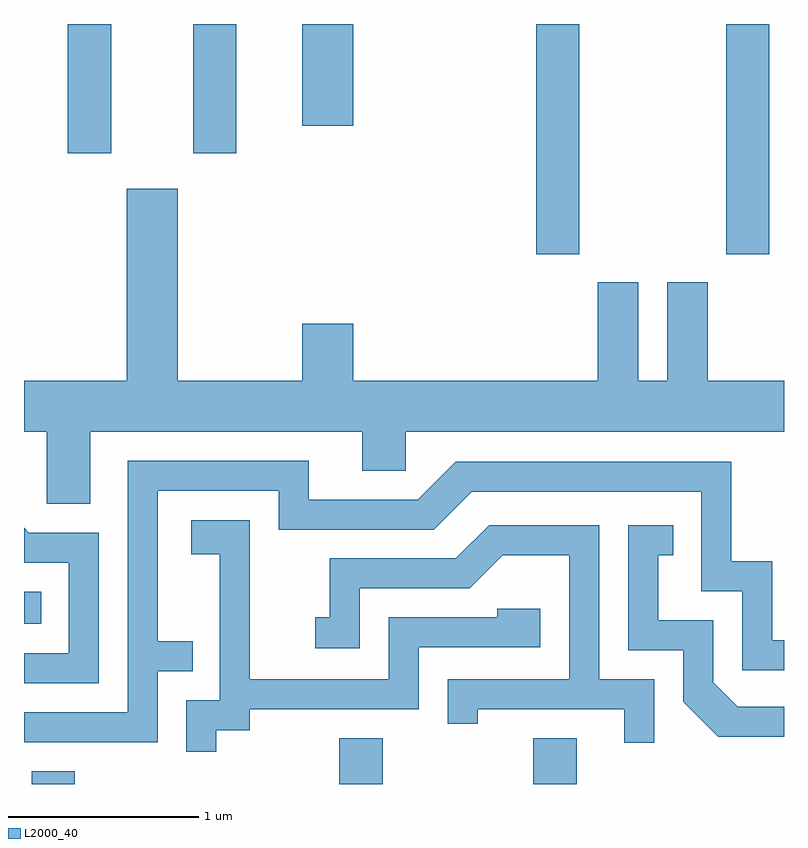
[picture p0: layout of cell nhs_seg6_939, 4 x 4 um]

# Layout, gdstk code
import gdstk
lib = gdstk.Library(unit=1e-6, precision=1e-09)
def R(c, l, rs):  # rectangles x0, y0, x1, y1
    for r in rs: c.add(gdstk.rectangle(r[:2], r[2:], *l))
def P(c, l, *ps):  # polygons
    for p in ps: c.add(gdstk.Polygon(p, *l))
L2000_40 = (2000, 40)

nhs_seg6_939 = lib.new_cell('nhs_seg6_939')
R(nhs_seg6_939, L2000_40, [(213.651,1568.162,213.879,1568.229), (215.271,1568.162,215.499,1568.404), (216.291,1568.162,216.519,1568.404), (213.611,1569.006,213.703,1569.174), (216.306,1570.951,216.534,1572.162), (217.306,1570.951,217.534,1572.162), (213.841,1571.481,214.069,1572.162), (214.501,1571.481,214.729,1572.162), (215.076,1571.626,215.344,1572.162)])
P(nhs_seg6_939, L2000_40, [(213.959,1570.016),(215.391,1570.016),(215.391,1569.811),(215.619,1569.811),(215.619,1570.016),(217.611,1570.016),(217.611,1570.284),(217.209,1570.284),(217.209,1570.804),(216.996,1570.804),(216.996,1570.284),(216.844,1570.284),(216.844,1570.804),(216.631,1570.804),(216.631,1570.284),(215.344,1570.284),(215.344,1570.584),(215.076,1570.584),(215.076,1570.284),(214.419,1570.284),(214.419,1571.294),(214.151,1571.294),(214.151,1570.284),(213.611,1570.284),(213.611,1570.016),(213.731,1570.016),(213.731,1569.636),(213.959,1569.636)],
  [(214.314,1568.756),(214.498,1568.756),(214.498,1568.914),(214.314,1568.914),(214.314,1569.706),(214.951,1569.706),(214.951,1569.501),(215.767,1569.501),(215.967,1569.701),(217.176,1569.701),(217.176,1569.176),(217.391,1569.176),(217.391,1568.761),(217.611,1568.761),(217.611,1568.919),(217.549,1568.919),(217.549,1569.334),(217.334,1569.334),(217.334,1569.859),(215.884,1569.859),(215.684,1569.659),(215.109,1569.659),(215.109,1569.864),(214.156,1569.864),(214.156,1568.539),(213.611,1568.539),(213.611,1568.381),(214.314,1568.381)],
  [(214.624,1568.446),(214.799,1568.446),(214.799,1568.556),(215.689,1568.556),(215.689,1568.881),(216.329,1568.881),(216.329,1569.084),(216.101,1569.084),(216.101,1569.039),(215.531,1569.039),(215.531,1568.714),(214.799,1568.714),(214.799,1569.549),(214.491,1569.549),(214.491,1569.371),(214.641,1569.371),(214.641,1568.604),(214.466,1568.604),(214.466,1568.333),(214.624,1568.333)],
  [(217.611,1568.569),(217.367,1568.569),(217.239,1568.697),(217.239,1569.024),(216.949,1569.024),(216.949,1569.366),(217.028,1569.366),(217.028,1569.524),(216.791,1569.524),(216.791,1568.866),(217.081,1568.866),(217.081,1568.594),(217.264,1568.411),(217.611,1568.411)],
  [(216.929,1568.714),(216.639,1568.714),(216.639,1569.524),(216.059,1569.524),(215.884,1569.349),(215.221,1569.349),(215.221,1569.039),(215.143,1569.039),(215.143,1568.876),(215.379,1568.876),(215.379,1569.191),(215.957,1569.191),(216.132,1569.366),(216.481,1569.366),(216.481,1568.714),(215.841,1568.714),(215.841,1568.478),(215.999,1568.478),(215.999,1568.556),(216.771,1568.556),(216.771,1568.378),(216.929,1568.378)],
  [(214.004,1569.484),(213.637,1569.484),(213.611,1569.51),(213.611,1569.326),(213.846,1569.326),(213.846,1568.849),(213.611,1568.849),(213.611,1568.691),(214.004,1568.691)])

lib.write_gds('nhs_seg6_939.gds')
